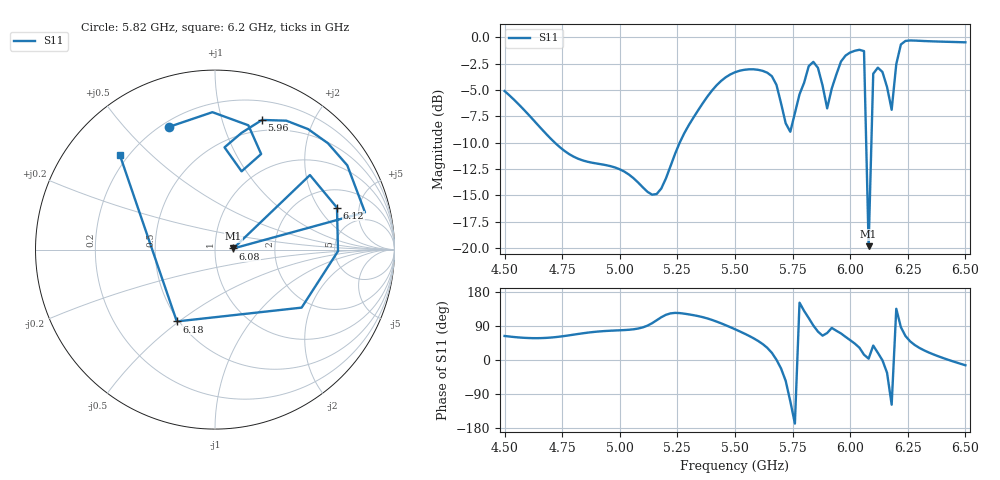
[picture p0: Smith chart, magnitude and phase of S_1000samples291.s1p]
! TOUCHSTONE file generated by CST MICROWAVE STUDIO
! Date and time: Thu Oct 27 15:59:23 2022
! Project name: L.cst
! Parameters = {Di=1.27; Epsilon_r=1.56; InnerDiameter=1.27; Length=2; Lf=10; Lg=60; OuterConductorThickness=0.2921; OuterDiameter=3.6; Wf=3; Wp=41.2; de=1.5; df=6.8; g=0.8; gx=2.31239; gy=2.45294; h=2.34; hf=1.524; px=14.9423; py=14.5784; w=9.7; wx=12.6299; wy=12.1255}
! Header version: 2018
! Port assignment regex: !\s*Touchstone port\s*([0-9]+)\s*=\s*(CST MWS port|CST DS port)\s*([0-9]+|Zmin|Zmax)\s*\(\"(.*)\"\)(\s*mode\s*([0-9]+))?.*
! Touchstone port assignment:
! Touchstone port 1 = CST MWS port 1 ("")
# GHz S DB R 50
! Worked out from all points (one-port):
!   101 points, 4.5 GHz to 6.5 GHz, reference 50 ohm
!   lowest |S11| = -19.8 dB at 6.08 GHz (marker M1), VSWR 1.23, Z = 61.3 + j0.776 ohm
!   |S11| at or under -10 dB: 4.718 GHz to 5.26 GHz (541.7 MHz wide, 10.9 % of centre); 6.06939 GHz to 6.092 GHz (22.61 MHz wide, 0.372 % of centre)
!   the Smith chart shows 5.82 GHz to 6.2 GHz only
!   S11 on the Smith chart (normalised r, x): 5.82 GHz: 0.23, +0.67; 5.96 GHz: 0.38, +1.35; 6.08 GHz: 1.23, +0.02; 6.12 GHz: 3.08, +2.97; 6.18 GHz: 0.49, -0.49; 6.2 GHz: 0.17, +0.40
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4.5  -5.09 63.4
4.76  -10.78 63.3
5  -12.53 78.4
5.16  -14.88 104.9
5.26  -9.99 123.8
5.38  -5.62 109.7
5.5  -3.31 81.2
5.6  -3.07 50.4
5.68  -4.51 0.6
5.72  -8.15 -55.0
5.76  -7.19 -167.7
5.82  -2.73 110.7
5.86  -2.89 75.0
5.9  -6.74 71.2
5.92  -4.85 84.7
5.96  -2.29 70.1
6  -1.43 52.3
6.06  -1.30 14.0
6.08  -19.83 3.5
6.1  -3.45 38.1
6.12  -2.87 19.0
6.16  -4.72 -33.8
6.18  -6.87 -118.0
6.2  -2.54 135.2
6.22  -0.67 86.5
6.26  -0.29 49.4
6.34  -0.36 20.1
6.5  -0.46 -13.9
